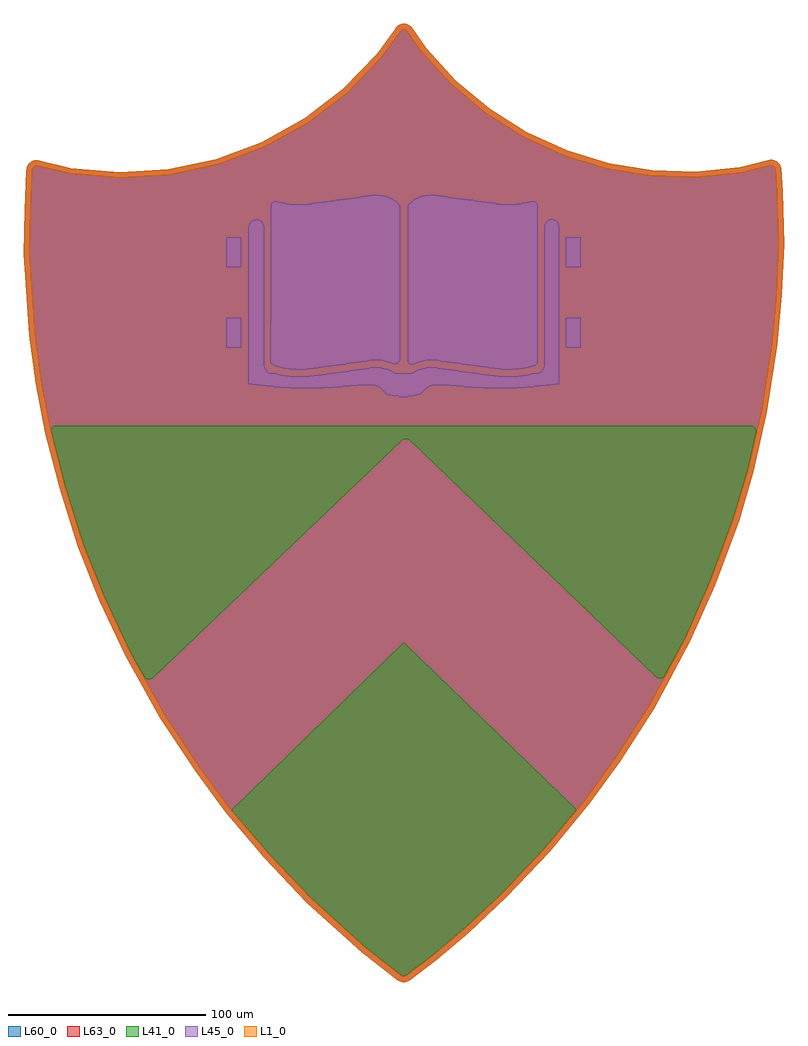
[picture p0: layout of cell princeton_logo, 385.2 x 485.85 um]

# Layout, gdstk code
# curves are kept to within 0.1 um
import gdstk
lib = gdstk.Library(unit=1e-6, precision=1e-09)
def P(c, l, *ps):  # polygons
    for p in ps: c.add(gdstk.Polygon(p, *l))
L1_0 = (1, 0)
L41_0 = (41, 0)
L45_0 = (45, 0)
L60_0 = (60, 0)
L63_0 = (63, 0)

princeton_logo = lib.new_cell('princeton_logo')
P(princeton_logo, L1_0, [(-27.02,-174.037),(-28.458,-173.816),(-29.771,-173.192),(-48.195,-158.826),(-76.09,-133.629),(-97.74,-110.84),(-117.495,-87.654),(-132.789,-66.772),(-150.489,-40.271),(-168.191,-8.229),(-181.388,19.665),(-192.19,46.972),(-201.493,76.311),(-208.689,104.265),(-213.491,129.458),(-216.789,154.017),(-219.489,195.022),(-219.19,217.604),(-218.29,237.28),(-218.009,238.875),(-217.509,240.137),(-216.687,241.217),(-215.606,242.039),(-214.342,242.54),(-212.313,242.615),(-195.741,238.658),(-171.076,236.519),(-146.379,238.037),(-122.162,243.181),(-98.968,251.837),(-77.312,263.812),(-57.646,278.855),(-40.42,296.626),(-31.684,308.812),(-27.089,308.812),(-27.875,308.597),(-28.511,308.088),(-38.111,294.697),(-55.649,276.605),(-75.663,261.296),(-97.714,249.103),(-121.321,240.292),(-145.968,235.057),(-171.118,233.511),(-196.221,235.688),(-212.812,239.65),(-213.355,239.667),(-214.128,239.42),(-214.74,238.886),(-215.007,238.413),(-215.302,236.95),(-216.191,217.516),(-216.488,195.101),(-213.802,154.316),(-210.529,129.939),(-205.76,104.92),(-198.608,77.139),(-189.362,47.978),(-178.634,20.86),(-165.519,-6.861),(-147.924,-38.71),(-130.33,-65.052),(-115.14,-85.792),(-95.509,-108.833),(-73.994,-131.48),(-46.265,-156.527),(-28.1,-170.691),(-26.999,-171.029),(-25.894,-170.706),(-12.266,-160.387),(3.803,-146.699),(22.9,-128.796),(44.66,-105.843),(64.637,-81.691),(80.13,-60.27),(97.125,-34.001),(115.616,0.296),(128.131,28.693),(140.061,60.814),(147.504,86.122),(154.063,115.336),(159.431,149.394),(161.674,174.648),(162.709,200.019),(162.113,226.466),(161.314,238.086),(161.01,238.895),(160.394,239.502),(159.864,239.736),(159.001,239.782),(143.742,236.108),(121.193,233.773),(98.534,234.452),(76.165,238.132),(54.483,244.748),(33.871,254.183),(14.693,266.27),(-2.711,280.796),(-18.033,297.502),(-25.589,308.268),(-26.032,308.586),(-26.816,308.81),(-31.684,308.812),(-30.829,310.004),(-29.825,310.927),(-28.616,311.544),(-27.271,311.813),(-25.917,311.712),(-24.63,311.247),(-23.063,309.957),(-15.687,299.383),(-0.632,282.968),(16.458,268.704),(35.301,256.828),(55.554,247.558),(76.849,241.06),(98.82,237.445),(121.086,236.778),(143.232,239.071),(158.513,242.75),(159.955,242.778),(160.669,242.634),(161.995,242.049),(163.095,241.112),(163.534,240.531),(163.882,239.898),(164.292,238.512),(165.111,226.603),(165.71,199.992),(164.669,174.454),(162.41,149.027),(157.011,114.773),(150.41,85.369),(142.91,59.867),(130.912,27.565),(118.313,-1.023),(99.709,-35.53),(82.606,-61.965),(67.011,-83.528),(46.907,-107.833),(25.016,-130.924),(5.803,-148.936),(-10.386,-162.727),(-24.256,-173.229),(-25.58,-173.836)])
P(princeton_logo, L41_0, [(-26.999,-171.029),(-28.1,-170.691),(-46.265,-156.527),(-73.994,-131.48),(-95.509,-108.833),(-114.349,-86.721),(-27.09,-1.7),(60.597,-86.575),(44.66,-105.843),(22.9,-128.796),(3.803,-146.699),(-12.266,-160.387),(-25.894,-170.706)],
  [(-156.03,-20.569),(-157.232,-20.385),(-157.78,-20.115),(-158.661,-19.276),(-165.519,-6.861),(-178.634,20.86),(-189.362,47.978),(-198.608,77.139),(-205.76,104.92),(-205.811,105.848),(-205.411,106.907),(-204.599,107.694),(-204.084,107.936),(-203.529,108.06),(148.98,108.06),(149.568,107.942),(150.616,107.372),(151.361,106.441),(151.687,105.294),(151.674,104.695),(147.504,86.122),(140.061,60.814),(128.131,28.693),(115.616,0.296),(105.337,-18.768),(104.941,-19.24),(103.906,-19.896),(102.695,-20.086),(102.086,-19.993),(100.987,-19.451),(-24.095,100.65),(-24.656,100.992),(-25.93,101.277),(-27.205,100.997),(-27.768,100.657),(-154.334,-19.94),(-155.426,-20.477)])
P(princeton_logo, L45_0, [(-116.414,147.47),(-116.89,147.946),(-116.89,162.594),(-116.714,162.77),(-109.566,162.77),(-109.39,162.594),(-109.39,147.646),(-109.566,147.47)],
  [(55.486,147.47),(55.01,147.946),(55.01,162.594),(55.186,162.77),(62.634,162.77),(62.81,162.594),(62.81,147.646),(62.634,147.47)],
  [(-29.252,122.57),(-29.876,122.87),(-31.352,122.87),(-31.976,123.17),(-32.951,123.19),(-33.377,123.45),(-34.151,123.49),(-34.577,123.75),(-36.057,124.152),(-38.799,126.855),(-40.057,127.696),(-41.455,128.275),(-42.939,128.57),(-50.304,128.57),(-50.928,128.27),(-53.604,128.27),(-54.228,127.97),(-57.504,127.97),(-58.128,127.67),(-61.704,127.67),(-62.328,127.37),(-67.404,127.37),(-68.028,127.07),(-84.452,127.07),(-85.076,127.37),(-89.252,127.37),(-89.876,127.67),(-92.852,127.67),(-93.476,127.97),(-96.152,127.97),(-96.776,128.27),(-98.852,128.27),(-99.476,128.57),(-101.252,128.57),(-101.876,128.87),(-103.652,128.87),(-104.276,129.17),(-105.723,129.279),(-105.79,208.965),(-105.332,210.48),(-104.891,211.142),(-104.33,211.706),(-102.937,212.456),(-101.206,212.607),(-100.332,212.391),(-98.829,211.418),(-97.888,209.896),(-97.69,209.017),(-97.69,138.474),(-97.197,136.849),(-96.723,136.14),(-95.411,135.063),(-93.786,134.57),(-91.728,134.57),(-91.203,134.29),(-90.429,134.25),(-90.003,133.99),(-89.229,133.95),(-88.803,133.69),(-87.528,133.67),(-86.904,133.37),(-85.428,133.37),(-84.804,133.07),(-75.176,133.07),(-74.651,133.35),(-73.076,133.37),(-72.452,133.67),(-70.676,133.67),(-70.052,133.97),(-68.276,133.97),(-67.751,134.25),(-66.176,134.27),(-65.552,134.57),(-63.776,134.57),(-63.152,134.87),(-61.376,134.87),(-60.752,135.17),(-58.976,135.17),(-58.352,135.47),(-56.876,135.47),(-56.252,135.77),(-54.776,135.77),(-54.152,136.07),(-52.676,136.07),(-52.052,136.37),(-50.876,136.37),(-50.252,136.67),(-48.776,136.67),(-48.152,136.97),(-46.676,136.97),(-46.052,137.27),(-44.576,137.27),(-43.952,137.57),(-38.628,137.57),(-38.103,137.29),(-37.128,137.27),(-36.603,136.99),(-35.829,136.95),(-35.403,136.69),(-34.929,136.65),(-30.943,134.57),(-23.137,134.57),(-19.244,136.612),(-18.677,136.69),(-18.251,136.95),(-17.477,136.99),(-17.051,137.25),(-16.076,137.27),(-15.452,137.57),(-10.128,137.57),(-9.504,137.27),(-8.028,137.27),(-7.404,136.97),(-5.928,136.97),(-5.304,136.67),(-3.828,136.67),(-3.204,136.37),(-1.728,136.37),(-1.104,136.07),(0.372,136.07),(0.996,135.77),(2.472,135.77),(2.997,135.49),(4.572,135.47),(5.196,135.17),(6.972,135.17),(7.596,134.87),(9.372,134.87),(9.996,134.57),(11.472,134.57),(12.096,134.27),(13.872,134.27),(14.496,133.97),(15.972,133.97),(16.596,133.67),(18.372,133.67),(18.996,133.37),(20.772,133.37),(21.396,133.07),(30.724,133.07),(31.348,133.37),(33.124,133.37),(33.748,133.67),(34.924,133.67),(35.548,133.97),(36.523,133.99),(37.948,134.57),(40.115,134.57),(40.993,134.745),(42.563,135.584),(43.196,136.217),(44.035,137.787),(44.21,138.665),(44.21,209.341),(44.364,210.089),(45.102,211.417),(46.305,212.346),(47.022,212.61),(48.54,212.684),(49.309,212.483),(50.676,211.577),(51.181,210.924),(51.71,209.372),(51.643,129.279),(49.896,129.17),(49.272,128.87),(47.796,128.87),(47.172,128.57),(45.096,128.57),(44.472,128.27),(42.396,128.27),(41.772,127.97),(39.396,127.97),(38.772,127.67),(35.496,127.67),(34.872,127.37),(30.996,127.37),(30.372,127.07),(13.648,127.07),(13.024,127.37),(8.248,127.37),(7.624,127.67),(3.748,127.67),(3.124,127.97),(-0.152,127.97),(-0.776,128.27),(-3.452,128.27),(-4.076,128.57),(-11.441,128.57),(-12.925,128.275),(-14.323,127.696),(-15.581,126.855),(-18.204,124.232),(-19.329,123.79),(-20.103,123.75),(-20.529,123.49),(-21.303,123.45),(-21.729,123.19),(-22.503,123.15),(-23.028,122.87),(-24.804,122.87),(-25.428,122.57)],
  [(-116.714,188.27),(-116.89,188.446),(-116.89,203.394),(-116.714,203.57),(-109.566,203.57),(-109.39,203.394),(-109.39,188.446),(-109.566,188.27)],
  [(55.186,188.27),(55.01,188.446),(55.01,203.394),(55.186,203.57),(62.634,203.57),(62.81,203.394),(62.81,188.446),(62.634,188.27)],
  [(-81.462,136.37),(-82.091,136.67),(-85.062,136.67),(-85.625,136.961),(-87.162,136.97),(-87.725,137.261),(-88.662,137.27),(-89.225,137.561),(-89.862,137.57),(-93.488,138.944),(-94.309,139.825),(-94.652,140.664),(-94.69,160.042),(-94.39,160.671),(-94.39,219.819),(-94.126,220.717),(-93.517,221.432),(-92.963,221.736),(-91.418,221.87),(-90.913,221.594),(-89.018,221.27),(-88.455,220.979),(-87.218,220.97),(-86.589,220.67),(-84.818,220.67),(-84.189,220.37),(-75.791,220.37),(-75.162,220.67),(-73.391,220.67),(-72.762,220.97),(-71.225,220.979),(-70.662,221.27),(-68.891,221.27),(-68.262,221.57),(-66.491,221.57),(-65.862,221.87),(-64.325,221.879),(-63.762,222.17),(-61.991,222.17),(-61.362,222.47),(-59.825,222.479),(-59.262,222.77),(-57.425,222.779),(-56.862,223.07),(-55.325,223.079),(-54.762,223.37),(-53.225,223.379),(-52.662,223.67),(-51.125,223.679),(-50.562,223.97),(-49.025,223.979),(-48.462,224.27),(-46.925,224.279),(-46.362,224.57),(-44.825,224.579),(-44.262,224.87),(-42.725,224.879),(-42.162,225.17),(-40.418,225.17),(-39.789,224.87),(-38.018,224.87),(-37.455,224.579),(-35.618,224.27),(-31.992,222.596),(-31.092,221.996),(-29.358,220.165),(-28.895,219.23),(-28.69,218.198),(-28.69,141.854),(-29.012,140.795),(-29.756,139.972),(-31.8,139.069),(-33.667,139.946),(-34.625,140.261),(-35.262,140.27),(-35.825,140.561),(-36.462,140.57),(-37.025,140.861),(-38.262,140.87),(-38.891,141.17),(-43.389,141.17),(-44.018,140.87),(-45.555,140.861),(-46.118,140.57),(-47.889,140.57),(-48.518,140.27),(-50.055,140.261),(-50.618,139.97),(-52.155,139.961),(-52.718,139.67),(-54.255,139.661),(-54.818,139.37),(-56.355,139.361),(-56.918,139.07),(-58.455,139.061),(-59.018,138.77),(-60.789,138.77),(-61.418,138.47),(-62.955,138.461),(-63.518,138.17),(-65.289,138.17),(-65.918,137.87),(-67.455,137.861),(-68.018,137.57),(-69.789,137.57),(-70.418,137.27),(-71.955,137.261),(-72.518,136.97),(-74.355,136.961),(-74.918,136.67),(-76.455,136.661),(-77.018,136.37)],
  [(23.238,136.37),(22.675,136.661),(20.838,136.67),(20.275,136.961),(18.738,136.97),(18.109,137.27),(16.338,137.27),(15.775,137.561),(14.238,137.57),(13.609,137.87),(11.838,137.87),(11.275,138.161),(9.738,138.17),(9.109,138.47),(7.338,138.47),(6.775,138.761),(5.238,138.77),(4.609,139.07),(2.838,139.07),(2.275,139.361),(0.738,139.37),(0.175,139.661),(-1.362,139.67),(-1.925,139.961),(-3.462,139.97),(-4.025,140.261),(-5.562,140.27),(-6.191,140.57),(-7.962,140.57),(-8.525,140.861),(-10.062,140.87),(-10.691,141.17),(-15.189,141.17),(-15.818,140.87),(-17.055,140.861),(-17.618,140.57),(-18.255,140.561),(-18.818,140.27),(-19.455,140.261),(-20.413,139.946),(-22.149,139.07),(-23.663,139.204),(-24.217,139.508),(-24.826,140.223),(-25.09,141.121),(-25.09,218.716),(-24.92,219.581),(-24.263,220.721),(-23.288,221.696),(-21.33,223.006),(-18.431,224.27),(-16.625,224.579),(-16.062,224.87),(-14.291,224.87),(-13.662,225.17),(-11.618,225.17),(-11.055,224.879),(-9.518,224.87),(-8.955,224.579),(-7.418,224.57),(-6.855,224.279),(-5.318,224.27),(-4.755,223.979),(-3.218,223.97),(-2.655,223.679),(-1.118,223.67),(-0.555,223.379),(0.982,223.37),(1.545,223.079),(3.082,223.07),(3.645,222.779),(5.482,222.77),(6.111,222.47),(7.882,222.47),(8.445,222.179),(9.982,222.17),(10.611,221.87),(12.382,221.87),(12.945,221.579),(14.482,221.57),(15.111,221.27),(16.882,221.27),(17.511,220.97),(19.282,220.97),(19.845,220.679),(21.382,220.67),(22.011,220.37),(29.509,220.37),(30.138,220.67),(32.509,220.67),(33.138,220.97),(34.375,220.979),(34.938,221.27),(35.875,221.279),(36.438,221.57),(37.133,221.594),(37.638,221.87),(39.327,221.725),(39.952,221.388),(40.625,220.603),(40.91,219.623),(40.872,140.364),(40.529,139.525),(39.624,138.56),(37.582,137.87),(35.687,137.546),(35.182,137.27),(33.945,137.261),(33.382,136.97),(31.845,136.961),(31.282,136.67),(28.011,136.67),(27.382,136.37)])
P(princeton_logo, L60_0, [(-27.02,-174.037),(-28.458,-173.816),(-29.771,-173.192),(-48.195,-158.826),(-76.09,-133.629),(-97.74,-110.84),(-117.495,-87.654),(-132.789,-66.772),(-150.489,-40.271),(-168.191,-8.229),(-181.388,19.665),(-192.19,46.972),(-201.493,76.311),(-208.689,104.265),(-213.491,129.458),(-216.789,154.017),(-219.489,195.022),(-219.19,217.604),(-218.29,237.28),(-218.009,238.875),(-217.509,240.137),(-216.687,241.217),(-215.606,242.039),(-214.342,242.54),(-212.313,242.615),(-195.741,238.658),(-171.076,236.519),(-146.379,238.037),(-122.162,243.181),(-98.968,251.837),(-77.312,263.812),(-57.646,278.855),(-40.42,296.626),(-31.684,308.812),(-27.089,308.812),(-27.875,308.597),(-28.511,308.088),(-38.111,294.697),(-55.649,276.605),(-75.663,261.296),(-97.714,249.103),(-121.321,240.292),(-145.968,235.057),(-171.118,233.511),(-196.221,235.688),(-212.812,239.65),(-213.355,239.667),(-214.128,239.42),(-214.74,238.886),(-215.007,238.413),(-215.302,236.95),(-216.191,217.516),(-216.488,195.101),(-213.802,154.316),(-210.529,129.939),(-205.76,104.92),(-198.608,77.139),(-189.362,47.978),(-178.634,20.86),(-165.519,-6.861),(-147.924,-38.71),(-130.33,-65.052),(-115.14,-85.792),(-95.509,-108.833),(-73.994,-131.48),(-46.265,-156.527),(-28.1,-170.691),(-26.999,-171.029),(-25.894,-170.706),(-12.266,-160.387),(3.803,-146.699),(22.9,-128.796),(44.66,-105.843),(64.637,-81.691),(80.13,-60.27),(97.125,-34.001),(115.616,0.296),(128.131,28.693),(140.061,60.814),(147.504,86.122),(154.063,115.336),(159.431,149.394),(161.674,174.648),(162.709,200.019),(162.113,226.466),(161.314,238.086),(161.01,238.895),(160.394,239.502),(159.864,239.736),(159.001,239.782),(143.742,236.108),(121.193,233.773),(98.534,234.452),(76.165,238.132),(54.483,244.748),(33.871,254.183),(14.693,266.27),(-2.711,280.796),(-18.033,297.502),(-25.589,308.268),(-26.032,308.586),(-26.816,308.81),(-31.684,308.812),(-30.829,310.004),(-29.825,310.927),(-28.616,311.544),(-27.271,311.813),(-25.917,311.712),(-24.63,311.247),(-23.063,309.957),(-15.687,299.383),(-0.632,282.968),(16.458,268.704),(35.301,256.828),(55.554,247.558),(76.849,241.06),(98.82,237.445),(121.086,236.778),(143.232,239.071),(158.513,242.75),(159.955,242.778),(160.669,242.634),(161.995,242.049),(163.095,241.112),(163.534,240.531),(163.882,239.898),(164.292,238.512),(165.111,226.603),(165.71,199.992),(164.669,174.454),(162.41,149.027),(157.011,114.773),(150.41,85.369),(142.91,59.867),(130.912,27.565),(118.313,-1.023),(99.709,-35.53),(82.606,-61.965),(67.011,-83.528),(46.907,-107.833),(25.016,-130.924),(5.803,-148.936),(-10.386,-162.727),(-24.256,-173.229),(-25.58,-173.836)],
  [(-27.02,-174.037),(-28.458,-173.816),(-29.771,-173.192),(-48.195,-158.826),(-76.09,-133.629),(-97.74,-110.84),(-117.495,-87.654),(-132.789,-66.772),(-150.489,-40.271),(-168.191,-8.229),(-181.388,19.665),(-192.19,46.972),(-201.493,76.311),(-208.689,104.265),(-213.491,129.458),(-216.789,154.017),(-219.489,195.022),(-219.19,217.604),(-218.29,237.28),(-218.009,238.875),(-217.509,240.137),(-216.687,241.217),(-215.606,242.039),(-214.342,242.54),(-212.313,242.615),(-195.741,238.658),(-171.076,236.519),(-146.379,238.037),(-122.162,243.181),(-98.968,251.837),(-77.312,263.812),(-57.646,278.855),(-40.42,296.626),(-30.829,310.004),(-29.241,311.275),(-27.271,311.813),(-25.917,311.712),(-24.63,311.247),(-23.063,309.957),(-15.687,299.383),(-0.632,282.968),(16.458,268.704),(35.301,256.828),(55.554,247.558),(76.849,241.06),(98.82,237.445),(121.086,236.778),(143.232,239.071),(158.513,242.75),(159.955,242.778),(160.669,242.634),(161.995,242.049),(163.095,241.112),(163.534,240.531),(163.882,239.898),(164.292,238.512),(165.111,226.603),(165.71,199.992),(164.669,174.454),(162.41,149.027),(157.011,114.773),(150.41,85.369),(142.91,59.867),(130.912,27.565),(118.313,-1.023),(99.709,-35.53),(82.606,-61.965),(67.011,-83.528),(46.907,-107.833),(25.016,-130.924),(5.803,-148.936),(-10.386,-162.727),(-24.256,-173.229),(-25.58,-173.836)])
P(princeton_logo, L63_0, [(-27.02,-174.037),(-28.458,-173.816),(-29.771,-173.192),(-48.195,-158.826),(-76.09,-133.629),(-97.74,-110.84),(-117.495,-87.654),(-132.789,-66.772),(-150.489,-40.271),(-168.191,-8.229),(-181.388,19.665),(-192.19,46.972),(-201.493,76.311),(-208.689,104.265),(-213.491,129.458),(-216.789,154.017),(-219.489,195.022),(-219.19,217.604),(-218.29,237.28),(-218.009,238.875),(-217.509,240.137),(-216.687,241.217),(-215.606,242.039),(-214.342,242.54),(-212.313,242.615),(-195.741,238.658),(-171.076,236.519),(-146.379,238.037),(-122.162,243.181),(-98.968,251.837),(-77.312,263.812),(-57.646,278.855),(-40.42,296.626),(-30.829,310.004),(-29.241,311.275),(-27.271,311.813),(-25.917,311.712),(-24.63,311.247),(-23.063,309.957),(-15.687,299.383),(-0.632,282.968),(16.458,268.704),(35.301,256.828),(55.554,247.558),(76.849,241.06),(98.82,237.445),(121.086,236.778),(143.232,239.071),(158.513,242.75),(159.955,242.778),(160.669,242.634),(161.995,242.049),(163.095,241.112),(163.534,240.531),(163.882,239.898),(164.292,238.512),(165.111,226.603),(165.71,199.992),(164.669,174.454),(162.41,149.027),(157.011,114.773),(150.41,85.369),(142.91,59.867),(130.912,27.565),(118.313,-1.023),(99.709,-35.53),(82.606,-61.965),(67.011,-83.528),(46.907,-107.833),(25.016,-130.924),(5.803,-148.936),(-10.386,-162.727),(-24.256,-173.229),(-25.58,-173.836)])

lib.write_gds('princeton_logo.gds')
